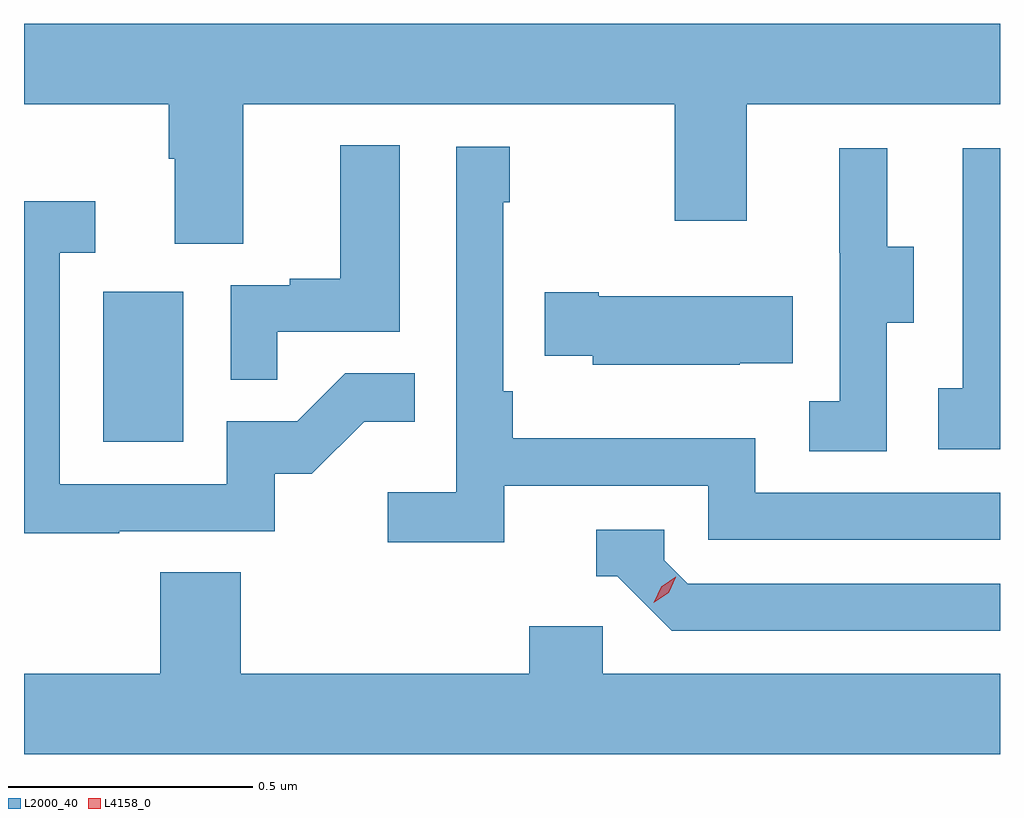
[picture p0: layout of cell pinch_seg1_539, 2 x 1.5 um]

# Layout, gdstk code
import gdstk
lib = gdstk.Library(unit=1e-6, precision=1e-09)
def R(c, l, rs):  # rectangles x0, y0, x1, y1
    for r in rs: c.add(gdstk.rectangle(r[:2], r[2:], *l))
def P(c, l, *ps):  # polygons
    for p in ps: c.add(gdstk.Polygon(p, *l))
L2000_40 = (2000, 40)
L4158_0 = (4158, 0)

pinch_seg1_539 = lib.new_cell('pinch_seg1_539')
R(pinch_seg1_539, L2000_40, [(1053.098,539.052,1053.262,539.359)])
P(pinch_seg1_539, L2000_40, [(1053.385,539.744),(1054.27,539.744),(1054.27,539.505),(1054.417,539.505),(1054.417,539.744),(1054.936,539.744),(1054.936,539.908),(1052.936,539.908),(1052.936,539.744),(1053.233,539.744),(1053.233,539.632),(1053.245,539.632),(1053.245,539.458),(1053.385,539.458)],
  [(1053.455,539.277),(1053.706,539.277),(1053.706,539.659),(1053.584,539.659),(1053.584,539.386),(1053.481,539.386),(1053.481,539.373),(1053.36,539.373),(1053.36,539.179),(1053.455,539.179)],
  [(1053.92,538.962),(1054.338,538.962),(1054.338,538.851),(1054.936,538.851),(1054.936,538.947),(1054.434,538.947),(1054.434,539.059),(1053.938,539.059),(1053.938,539.155),(1053.918,539.155),(1053.918,539.543),(1053.931,539.543),(1053.931,539.656),(1053.822,539.656),(1053.822,538.948),(1053.681,538.948),(1053.681,538.846),(1053.92,538.846)],
  [(1054.936,539.653),(1054.86,539.653),(1054.86,539.162),(1054.809,539.162),(1054.809,539.037),(1054.936,539.037)],
  [(1054.704,539.296),(1054.759,539.296),(1054.759,539.451),(1054.705,539.451),(1054.705,539.653),(1054.607,539.653),(1054.607,539.439),(1054.608,539.439),(1054.608,539.135),(1054.545,539.135),(1054.545,539.032),(1054.704,539.032)],
  [(1053.131,538.869),(1053.45,538.869),(1053.45,538.986),(1053.526,538.986),(1053.633,539.093),(1053.737,539.093),(1053.737,539.192),(1053.594,539.192),(1053.496,539.094),(1053.351,539.094),(1053.351,538.965),(1053.009,538.965),(1053.009,539.439),(1053.082,539.439),(1053.082,539.545),(1052.936,539.545),(1052.936,538.864),(1053.131,538.864)],
  [(1054.403,539.213),(1054.511,539.213),(1054.511,539.35),(1054.114,539.35),(1054.114,539.358),(1054.003,539.358),(1054.003,539.228),(1054.101,539.228),(1054.101,539.21),(1054.403,539.21)],
  [(1054.936,538.761),(1054.296,538.761),(1054.248,538.809),(1054.248,538.872),(1054.109,538.872),(1054.109,538.776),(1054.152,538.776),(1054.263,538.665),(1054.936,538.665)],
  [(1054.936,538.576),(1054.122,538.576),(1054.122,538.674),(1053.971,538.674),(1053.971,538.576),(1053.38,538.576),(1053.38,538.784),(1053.215,538.784),(1053.215,538.576),(1052.936,538.576),(1052.936,538.412),(1054.936,538.412)])
P(pinch_seg1_539, L4158_0, [(1054.226,538.722),(1054.226,538.722),(1054.242,538.755),(1054.272,538.775),(1054.272,538.775),(1054.272,538.774),(1054.257,538.742),(1054.226,538.722)])

lib.write_gds('pinch_seg1_539.gds')
